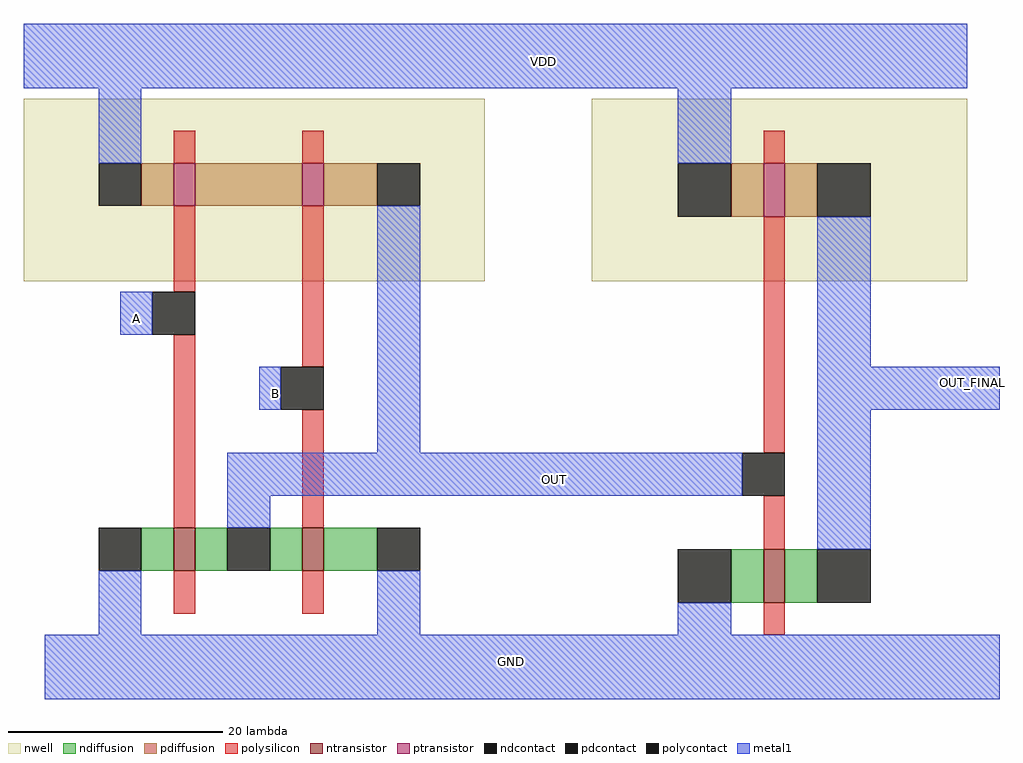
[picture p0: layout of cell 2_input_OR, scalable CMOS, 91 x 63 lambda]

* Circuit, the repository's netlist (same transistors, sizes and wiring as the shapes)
* SPICE3 file created from 2_input_OR.ext - technology: scmos
.include TSMC_180nm.txt


.param SUPPLY = 1.8


.global GND

Vdd VDD GND 'SUPPLY'

V_in_A A GND PULSE(0 1.8 0ns 100ps 100ps 60ns 120ns)
V_in_B B GND PULSE(0 1.8 0ns 100ps 100ps 80ns 160ns)
.option scale=0.09u

M1000 OUT A GND Gnd CMOSN w=4 l=2
+  ad=40 pd=28 as=104 ps=74
M1001 a_n7_22# A VDD VDD CMOSP w=4 l=2
+  ad=40 pd=28 as=68 ps=48
M1002 OUT_FINAL OUT VDD VDD CMOSP w=5 l=2
+  ad=40 pd=26 as=0 ps=0
M1003 OUT_FINAL OUT GND Gnd CMOSN w=5 l=2
+  ad=40 pd=26 as=0 ps=0
M1004 GND B OUT Gnd CMOSN w=4 l=2
+  ad=0 pd=0 as=0 ps=0
M1005 OUT B a_n7_22# VDD CMOSP w=4 l=2
+  ad=36 pd=26 as=0 ps=0
.tran 1n 500n
.control
run
set color0 = rgb:f/f/e
set color1 = white
plot v(A) v(B)+2 v(OUT_FINAL)+4
.end
.endc

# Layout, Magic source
magic
tech scmos
<< nwell >>
rect -23 15 20 32
rect 30 15 65 32
<< ntransistor >>
rect -9 -12 -7 -8
rect 3 -12 5 -8
rect 46 -15 48 -10
<< ptransistor >>
rect -9 22 -7 26
rect 3 22 5 26
rect 46 21 48 26
<< ndiffusion >>
rect -12 -12 -9 -8
rect -7 -12 -4 -8
rect 0 -12 3 -8
rect 5 -12 10 -8
rect 43 -15 46 -10
rect 48 -15 51 -10
<< pdiffusion >>
rect -12 22 -9 26
rect -7 22 3 26
rect 5 22 10 26
rect 43 21 46 26
rect 48 21 51 26
<< ndcontact >>
rect -16 -12 -12 -8
rect -4 -12 0 -8
rect 10 -12 14 -8
rect 38 -15 43 -10
rect 51 -15 56 -10
<< pdcontact >>
rect -16 22 -12 26
rect 10 22 14 26
rect 38 21 43 26
rect 51 21 56 26
<< polysilicon >>
rect -9 26 -7 29
rect 3 26 5 29
rect 46 26 48 29
rect -9 14 -7 22
rect -9 -8 -7 10
rect 3 7 5 22
rect 3 -8 5 3
rect 46 -1 48 21
rect 46 -10 48 -5
rect -9 -16 -7 -12
rect 3 -16 5 -12
rect 46 -18 48 -15
<< polycontact >>
rect -11 10 -7 14
rect 1 3 5 7
rect 44 -5 48 -1
<< metal1 >>
rect -23 33 65 39
rect -16 26 -12 33
rect 38 26 43 33
rect -14 10 -11 14
rect -1 3 1 7
rect 10 -1 14 22
rect 51 7 56 21
rect 51 3 68 7
rect -4 -5 44 -1
rect -4 -8 0 -5
rect 51 -10 56 3
rect -16 -18 -12 -12
rect 10 -18 14 -12
rect 38 -18 43 -15
rect -21 -24 68 -18
<< labels >>
rlabel metal1 25 35 26 36 5 VDD
rlabel metal1 -13 11 -12 12 1 A
rlabel metal1 0 4 1 5 1 B
rlabel metal1 26 -4 27 -3 1 OUT
rlabel metal1 22 -21 23 -20 1 GND
rlabel metal1 65 5 66 6 7 OUT_FINAL
<< end >>
